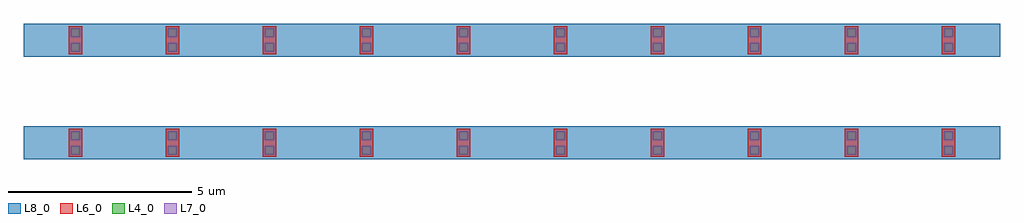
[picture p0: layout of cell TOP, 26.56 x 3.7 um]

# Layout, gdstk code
import gdstk
lib = gdstk.Library(unit=1e-6, precision=1e-09)
def R(c, l, rs):  # rectangles x0, y0, x1, y1
    for r in rs: c.add(gdstk.rectangle(r[:2], r[2:], *l))
L4_0 = (4, 0)
L6_0 = (6, 0)
L7_0 = (7, 0)
L8_0 = (8, 0)

inv2 = lib.new_cell('INV2')

device_d_nmos = lib.new_cell('DEVICE_D$NMOS')

device_d_nmos_1 = lib.new_cell('DEVICE_D$NMOS$1')

circuit_inv2 = lib.new_cell('CIRCUIT_INV2')
R(circuit_inv2, L4_0, [(-0.11,-0.31,0.11,-0.09), (-0.11,-0.31,0.11,-0.09), (-0.11,0.09,0.11,0.31), (-0.11,0.09,0.11,0.31)])
R(circuit_inv2, L6_0, [(-0.18,-0.38,0.18,0.38), (-0.18,-0.38,0.18,0.38)])
R(circuit_inv2, L7_0, [(-0.125,-0.325,0.125,-0.075), (-0.125,0.075,0.125,0.325)])
R(circuit_inv2, L8_0, [(-1.4,-0.45,1.4,0.45)])
circuit_inv2.add(gdstk.Reference(device_d_nmos, (-0.4,0)))
circuit_inv2.add(gdstk.Reference(device_d_nmos_1, (0.4,0)))

net_vss = lib.new_cell('NET_VSS')
net_vss.add(gdstk.Reference(circuit_inv2, (23.76,0)))
net_vss.add(gdstk.Reference(circuit_inv2, (0,0)))
net_vss.add(gdstk.Reference(circuit_inv2, (2.64,0)))
net_vss.add(gdstk.Reference(circuit_inv2, (5.28,0)))
net_vss.add(gdstk.Reference(circuit_inv2, (7.92,0)))
net_vss.add(gdstk.Reference(circuit_inv2, (10.56,0)))
net_vss.add(gdstk.Reference(circuit_inv2, (13.2,0)))
net_vss.add(gdstk.Reference(circuit_inv2, (15.84,0)))
net_vss.add(gdstk.Reference(circuit_inv2, (18.48,0)))
net_vss.add(gdstk.Reference(circuit_inv2, (21.12,0)))
net_vss.add(gdstk.Label('VSS', (0,0), layer=8, texttype=1))

device_d_pmos = lib.new_cell('DEVICE_D$PMOS')

device_d_pmos_1 = lib.new_cell('DEVICE_D$PMOS$1')

circuit_inv2_1 = lib.new_cell('CIRCUIT_INV2$1')
R(circuit_inv2_1, L4_0, [(-0.11,2.49,0.11,2.71), (-0.11,2.49,0.11,2.71), (-0.11,2.89,0.11,3.11), (-0.11,2.89,0.11,3.11)])
R(circuit_inv2_1, L6_0, [(-0.18,2.42,0.18,3.18), (-0.18,2.42,0.18,3.18)])
R(circuit_inv2_1, L7_0, [(-0.125,2.475,0.125,2.725), (-0.125,2.875,0.125,3.125)])
R(circuit_inv2_1, L8_0, [(-1.4,2.35,1.4,3.25)])
circuit_inv2_1.add(gdstk.Reference(device_d_pmos, (-0.4,2.8)))
circuit_inv2_1.add(gdstk.Reference(device_d_pmos_1, (0.4,2.8)))

net_vdd = lib.new_cell('NET_VDD')
net_vdd.add(gdstk.Reference(circuit_inv2_1, (23.76,0)))
net_vdd.add(gdstk.Reference(circuit_inv2_1, (0,0)))
net_vdd.add(gdstk.Reference(circuit_inv2_1, (2.64,0)))
net_vdd.add(gdstk.Reference(circuit_inv2_1, (5.28,0)))
net_vdd.add(gdstk.Reference(circuit_inv2_1, (7.92,0)))
net_vdd.add(gdstk.Reference(circuit_inv2_1, (10.56,0)))
net_vdd.add(gdstk.Reference(circuit_inv2_1, (13.2,0)))
net_vdd.add(gdstk.Reference(circuit_inv2_1, (15.84,0)))
net_vdd.add(gdstk.Reference(circuit_inv2_1, (18.48,0)))
net_vdd.add(gdstk.Reference(circuit_inv2_1, (21.12,0)))
net_vdd.add(gdstk.Label('VDD', (0,2.8), layer=8, texttype=1))

top = lib.new_cell('TOP')
top.add(gdstk.Reference(inv2, (23.76,0)))
top.add(gdstk.Reference(inv2, (0,0)))
top.add(gdstk.Reference(inv2, (2.64,0)))
top.add(gdstk.Reference(inv2, (5.28,0)))
top.add(gdstk.Reference(inv2, (7.92,0)))
top.add(gdstk.Reference(inv2, (10.56,0)))
top.add(gdstk.Reference(inv2, (13.2,0)))
top.add(gdstk.Reference(inv2, (15.84,0)))
top.add(gdstk.Reference(inv2, (18.48,0)))
top.add(gdstk.Reference(inv2, (21.12,0)))
top.add(gdstk.Reference(net_vss, (0,0)))
top.add(gdstk.Reference(net_vdd, (0,0)))

lib.write_gds('TOP.gds')
